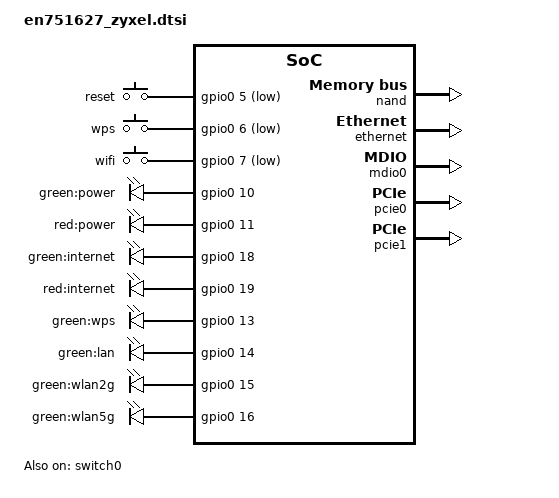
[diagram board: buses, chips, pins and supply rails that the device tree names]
// SPDX-License-Identifier: (GPL-2.0-only OR BSD-2-Clause)
/*
 * Copyright (C) 2026 Alan <alan@Riffraff>
 * Copyright (C) 2026 OpenWrt.org
 */

#include "en751627.dtsi"
#include <dt-bindings/gpio/gpio.h>
#include <dt-bindings/input/input.h>

/ {
	voip_slic: slic-hook {
		compatible = "skyworks,si32280";
		status = "disabled";
	};

	dsl_modem: dsl-hook {
		compatible = "econet,en7556n";
		status = "disabled";
	};

  chosen {
		bootargs = "earlycon=uart8250,mmio32,0x1fbf0000 console=ttyS0,115200 ";
	};

	gpio-keys {
		compatible = "gpio-keys";
		button_reset: reset {
			label = "reset";
			gpios = <&gpio0 5 GPIO_ACTIVE_LOW>;
			linux,code = <KEY_RESTART>;
			debounce-interval = <60>;
		};
		button_wps: wps {
			label = "wps";
			gpios = <&gpio0 6 GPIO_ACTIVE_LOW>;
			linux,code = <KEY_WPS_BUTTON>;
			debounce-interval = <60>;
		};
		button_wifi: wifi {
			label = "wifi";
			gpios = <&gpio0 7 GPIO_ACTIVE_LOW>;
			linux,code = <KEY_WLAN>;
			debounce-interval = <60>;
		};
	};

	leds {
		compatible = "gpio-leds";

		led_power_green: power_green {
			label = "green:power";
			gpios = <&gpio0 10 GPIO_ACTIVE_HIGH>;
			default-state = "on";
		};
		led_power_red: power_red {
			label = "red:power";
			gpios = <&gpio0 11 GPIO_ACTIVE_HIGH>;
		};
		led_internet_green: internet_green {
			label = "green:internet";
			gpios = <&gpio0 18 GPIO_ACTIVE_HIGH>;
		};
		led_internet_red: internet_red {
			label = "red:internet";
			gpios = <&gpio0 19 GPIO_ACTIVE_HIGH>;
		};
		led_wps_green: wps_green {
			label = "green:wps";
			gpios = <&gpio0 13 GPIO_ACTIVE_HIGH>;
		};
		led_lan_green: lan_green {
			label = "green:lan";
			gpios = <&gpio0 14 GPIO_ACTIVE_HIGH>;
		};
		led_wlan_2g: wlan_2g {
			label = "green:wlan2g";
			gpios = <&gpio0 15 GPIO_ACTIVE_HIGH>;
		};
		led_wlan_5g: wlan_5g {
			label = "green:wlan5g";
			gpios = <&gpio0 16 GPIO_ACTIVE_HIGH>;
		};
	};
};

&nand {
	status = "okay";

	partitions {
		compatible = "fixed-partitions";
		#address-cells = <1>;
		#size-cells = <1>;

		bootloader: partition@0 {
			label = "bootloader";
			reg = <0x0 0x40000>;
			read-only;
		};

    romfile: partition@40000 {
      label = "romfile";
      reg = <0x40000 0x400000>;
      read-only;

      nvmem-layout {
        compatible = "fixed-layout";
        #address-cells = <1>;
        #size-cells = <1>;

        /* Factory Hardcoded Identification Identifiers */
        board_id: board-id@0 { reg = <0x0 0x20>; type = "string"; };
        serial_number: serial@20 { reg = <0x20 0x20>; type = "string"; };

        /* The Uniform Triple MAC Matrix */
        mac_ethernet: mac@40 { reg = <0x40 0x6>; };
        mac_wlan_2g:  mac@46 { reg = <0x46 0x6>; };
        mac_wlan_5g:  mac@4c { reg = <0x4c 0x6>; };
        mac_wan:      mac@52 { reg = <0x52 0x6>; }; /* Fully tracks the 4th address */

        /* Shared EEPROM Data Targets */
        wifi_eeprom_2g: eeprom@600  { reg = <0x600 0x1000>; };
        wifi_eeprom_5g: eeprom@4600 { reg = <0x4600 0x1000>; };
      };
    };

		kernel: partition@80000 {
			label = "kernel";
			reg = <0x80000 0x400000>; /* Matches the script's exact 4MB PAD_ROOTFS_OFFSET_TO limit */
		};

		rootfs: partition@480000 {
			label = "rootfs";
			reg = <0x480000 0x3600000>; /* File system block lands precisely on this physical sector boundary */
		};

		kernel_alt: partition@3a80000 {
			label = "kernel_alt";
			reg = <0x3a80000 0x400000>;
		};

		rootfs_alt: partition@3e80000 {
			label = "rootfs_alt";
			reg = <0x3e80000 0x3500000>;
		};
  };
};

/* Bind standard parent drivers to these unified cells */
&ethernet {
  nvmem-cells = <&mac_ethernet>;
  nvmem-cell-names = "mac-address";
	status = "okay";

	mac@0 {
		status = "okay";
		nvmem-cells = <&mac_ethernet>;
		nvmem-cell-names = "mac-address";
	};

	mac@1 {
		status = "okay";
		nvmem-cells = <&mac_wan>;
		nvmem-cell-names = "mac-address";
	};
};

&mdio0 {
  status = "okay";
};

&switch0 {
  status = "okay";
};

/* Attach wireless interfaces directly to their dedicated cells */
&pcie0 {
    status = "okay";
};

&pcie1 {
    status = "okay";
};
